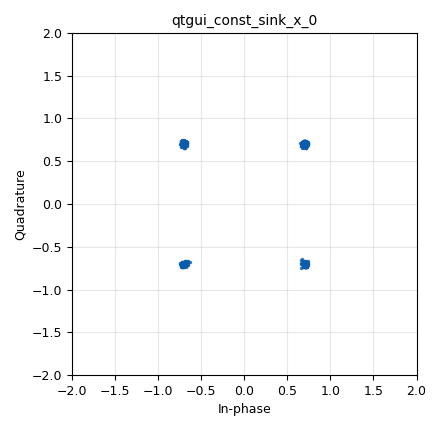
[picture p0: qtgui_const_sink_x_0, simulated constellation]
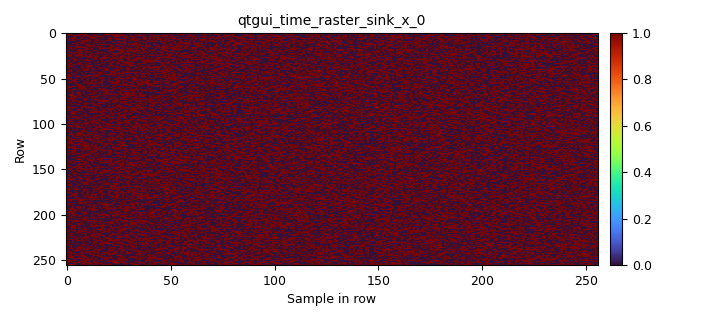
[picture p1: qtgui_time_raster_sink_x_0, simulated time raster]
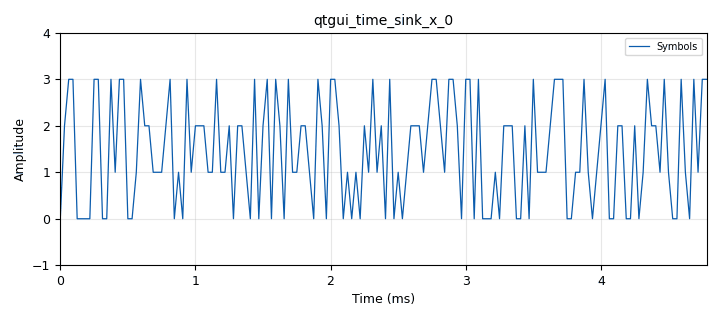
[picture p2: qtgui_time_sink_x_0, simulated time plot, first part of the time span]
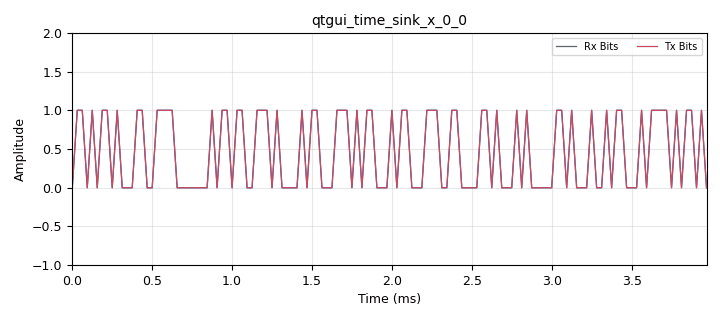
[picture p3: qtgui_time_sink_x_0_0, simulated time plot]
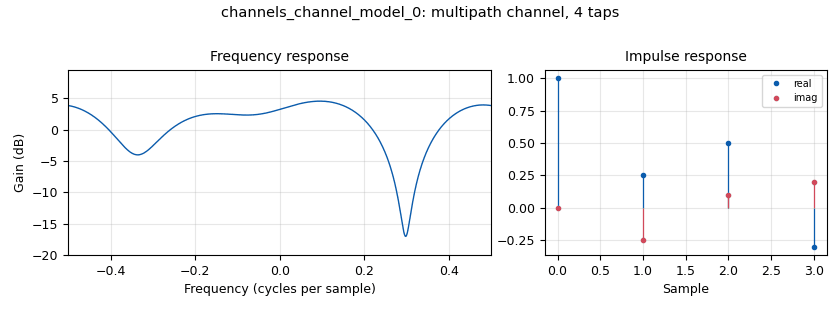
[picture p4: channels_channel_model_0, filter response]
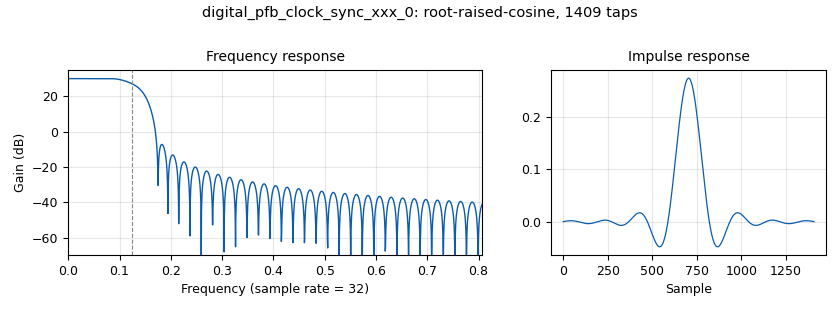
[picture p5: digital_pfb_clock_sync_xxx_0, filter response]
options:
  parameters:
    category: Custom
    generate_options: qt_gui
    id: mpsk_stage6
    output_language: python
    title: mpsk_stage6.grc
  states: {}

blocks:
- name: arity
  id: variable
  parameters:
    value: '4'
  states: {}
- name: delay
  id: variable_qtgui_range
  parameters:
    gui_hint: 1,0,1,1
    label: Delay
    orient: Qt.Horizontal
    start: '0'
    step: '1'
    stop: '200'
    value: '58'
  states: {}
- name: eq_gain
  id: variable_qtgui_range
  parameters:
    gui_hint: 'controls@1: 0,1,1,1'
    label: 'Equalizer: rate'
    orient: Qt.Horizontal
    start: '0.0'
    step: '0.001'
    stop: '0.1'
    value: '0.01'
    widget: slider
  states: {}
- name: excess_bw
  id: variable
  parameters:
    value: '0.35'
  states: {}
- name: freq_offset
  id: variable_qtgui_range
  parameters:
    gui_hint: 'controls@0: 0,1,1,1'
    label: Frequency Offset
    orient: Qt.Horizontal
    start: '-0.1'
    step: '0.001'
    stop: '0.1'
    value: '0'
  states: {}
- name: nfilts
  id: variable
  parameters:
    value: '32'
  states: {}
- name: noise_volt
  id: variable_qtgui_range
  parameters:
    gui_hint: 'controls@0: 0,0,1,1'
    label: Noise Voltage
    orient: Qt.Horizontal
    start: '0'
    step: '0.01'
    stop: '1'
    value: '0.0001'
  states: {}
- name: phase_bw
  id: variable_qtgui_range
  parameters:
    gui_hint: 'controls@1: 0,2,1,1'
    label: 'Phase: Bandwidth'
    orient: Qt.Horizontal
    start: '0.0'
    step: '0.01'
    stop: '1.0'
    value: 6.28/100.0
    widget: slider
  states: {}
- name: qpsk
  id: variable_constellation_rect
  parameters:
    const_points: '[0.707+0.707j, -0.707+0.707j, -0.707-0.707j, 0.707-0.707j]'
    imag_sect: '2'
    real_sect: '2'
    rot_sym: '4'
    sym_map: '[0, 1, 2, 3]'
    w_imag_sect: '1'
    w_real_sect: '1'
  states: {}
- name: rrc_taps
  id: variable
  parameters:
    value: firdes.root_raised_cosine(nfilts, nfilts, 1.0/float(sps), 0.35, 11*sps*nfilts)
  states: {}
- name: samp_rate
  id: variable
  parameters:
    value: '32000'
  states: {}
- name: sps
  id: variable
  parameters:
    value: '4'
  states: {}
- name: taps
  id: variable
  parameters:
    value: '[1.0, 0.25-0.25j, 0.50 + 0.10j, -0.3 + 0.2j]'
  states: {}
- name: time_offset
  id: variable_qtgui_range
  parameters:
    gui_hint: 'controls@0: 0,2,1,1'
    label: Timing Offset
    orient: Qt.Horizontal
    start: '0.999'
    step: '0.0001'
    stop: '1.001'
    value: '1.00'
  states: {}
- name: timing_loop_bw
  id: variable_qtgui_range
  parameters:
    gui_hint: 'controls@1: 0,0,1,1'
    label: 'Time: BW'
    orient: Qt.Horizontal
    start: '0.0'
    step: '0.01'
    stop: '0.2'
    value: 6.28/100.0
    widget: slider
  states: {}
- name: analog_random_source_x_0
  id: analog_random_source_x
  parameters:
    max: '255'
    min: '0'
    num_samps: '1000'
    repeat: 'True'
    type: byte
  states: {}
- name: blocks_char_to_float_0
  id: blocks_char_to_float
  parameters:
    scale: '1'
  states: {}
- name: blocks_char_to_float_0_0
  id: blocks_char_to_float
  parameters:
    scale: '1'
  states: {}
- name: blocks_char_to_float_0_0_0
  id: blocks_char_to_float
  parameters:
    scale: '1'
  states: {}
- name: blocks_delay_0
  id: blocks_delay
  parameters:
    delay: int(delay)
    type: float
  states: {}
- name: blocks_sub_xx_0
  id: blocks_sub_xx
  parameters:
    type: float
  states: {}
- name: blocks_throttle_0
  id: blocks_throttle
  parameters:
    samples_per_second: samp_rate
    type: complex
  states: {}
- name: blocks_unpack_k_bits_bb_0
  id: blocks_unpack_k_bits_bb
  parameters:
    k: '2'
  states: {}
- name: blocks_unpack_k_bits_bb_0_0
  id: blocks_unpack_k_bits_bb
  parameters:
    k: '8'
  states: {}
- name: channels_channel_model_0
  id: channels_channel_model
  parameters:
    epsilon: time_offset
    freq_offset: freq_offset
    noise_voltage: noise_volt
    seed: '0'
    taps: taps
  states: {}
- name: controls
  id: qtgui_tab_widget
  parameters:
    gui_hint: 0,0,1,2
    label0: Channel
    label1: Receiver
    num_tabs: '2'
  states: {}
- name: digital_cma_equalizer_cc_0
  id: digital_cma_equalizer_cc
  parameters:
    modulus: '1'
    mu: eq_gain
    num_taps: '15'
    sps: '2'
  states: {}
- name: digital_constellation_decoder_cb_0
  id: digital_constellation_decoder_cb
  parameters:
    constellation: qpsk
  states: {}
- name: digital_constellation_modulator_0
  id: digital_constellation_modulator
  parameters:
    constellation: qpsk
    differential: 'True'
    excess_bw: excess_bw
    samples_per_symbol: sps
  states: {}
- name: digital_costas_loop_cc_0
  id: digital_costas_loop_cc
  parameters:
    order: arity
    w: phase_bw
  states: {}
- name: digital_diff_decoder_bb_0
  id: digital_diff_decoder_bb
  parameters:
    modulus: '4'
  states: {}
- name: digital_map_bb_0
  id: digital_map_bb
  parameters:
    map: '[0,1,2,3]'
  states: {}
- name: digital_pfb_clock_sync_xxx_0
  id: digital_pfb_clock_sync_xxx
  parameters:
    filter_size: nfilts
    init_phase: nfilts/2
    loop_bw: timing_loop_bw
    max_dev: '1.5'
    osps: '2'
    sps: sps
    taps: rrc_taps
    type: ccf
  states: {}
- name: qtgui_const_sink_x_0
  id: qtgui_const_sink_x
  parameters:
    gui_hint: 'received@0: 0,0,1,1'
    size: '1024'
    type: complex
  states: {}
- name: qtgui_time_raster_sink_x_0
  id: qtgui_time_raster_sink_x
  parameters:
    gui_hint: 'received@2: 0,0,1,1'
    ncols: '256'
    nrows: '256'
    samp_rate: samp_rate
    type: float
  states: {}
- name: qtgui_time_sink_x_0
  id: qtgui_time_sink_x
  parameters:
    gui_hint: 'received@1: 0,0,1,1'
    label1: Symbols
    name: ''
    size: '500'
    srate: samp_rate
    type: float
    ymax: '4'
  states: {}
- name: qtgui_time_sink_x_0_0
  id: qtgui_time_sink_x
  parameters:
    gui_hint: 'signals@0: 0,0,1,1'
    label1: Rx Bits
    label2: Tx Bits
    name: ''
    nconnections: '2'
    size: '128'
    srate: samp_rate
    tr_mode: qtgui.TRIG_MODE_AUTO
    type: float
    ymax: '2'
  states: {}
- name: qtgui_time_sink_x_1
  id: qtgui_time_sink_x
  parameters:
    color1: magenta
    entags: 'False'
    gui_hint: 'signals@1: 0,0,1,1'
    label1: Rx_Bits - Tx_Bits
    size: '128'
    srate: samp_rate
    type: float
  states: {}
- name: received
  id: qtgui_tab_widget
  parameters:
    gui_hint: 2,0,1,1
    label0: Constellation
    label1: Symbols
    label2: Pattern
    num_tabs: '3'
  states: {}
- name: signals
  id: qtgui_tab_widget
  parameters:
    gui_hint: 2,1,1,1
    label0: Bits
    label1: Subtract
    num_tabs: '2'
  states: {}

connections:
- [analog_random_source_x_0, '0', blocks_unpack_k_bits_bb_0_0, '0']
- [analog_random_source_x_0, '0', digital_constellation_modulator_0, '0']
- [blocks_char_to_float_0, '0', qtgui_time_sink_x_0, '0']
- [blocks_char_to_float_0_0, '0', blocks_sub_xx_0, '0']
- [blocks_char_to_float_0_0, '0', qtgui_time_raster_sink_x_0, '0']
- [blocks_char_to_float_0_0, '0', qtgui_time_sink_x_0_0, '0']
- [blocks_char_to_float_0_0_0, '0', blocks_delay_0, '0']
- [blocks_delay_0, '0', blocks_sub_xx_0, '1']
- [blocks_delay_0, '0', qtgui_time_sink_x_0_0, '1']
- [blocks_sub_xx_0, '0', qtgui_time_sink_x_1, '0']
- [blocks_throttle_0, '0', channels_channel_model_0, '0']
- [blocks_unpack_k_bits_bb_0, '0', blocks_char_to_float_0_0, '0']
- [blocks_unpack_k_bits_bb_0_0, '0', blocks_char_to_float_0_0_0, '0']
- [channels_channel_model_0, '0', digital_pfb_clock_sync_xxx_0, '0']
- [digital_cma_equalizer_cc_0, '0', digital_costas_loop_cc_0, '0']
- [digital_constellation_decoder_cb_0, '0', blocks_char_to_float_0, '0']
- [digital_constellation_decoder_cb_0, '0', digital_diff_decoder_bb_0, '0']
- [digital_constellation_modulator_0, '0', blocks_throttle_0, '0']
- [digital_costas_loop_cc_0, '0', digital_constellation_decoder_cb_0, '0']
- [digital_costas_loop_cc_0, '0', qtgui_const_sink_x_0, '0']
- [digital_diff_decoder_bb_0, '0', digital_map_bb_0, '0']
- [digital_map_bb_0, '0', blocks_unpack_k_bits_bb_0, '0']
- [digital_pfb_clock_sync_xxx_0, '0', digital_cma_equalizer_cc_0, '0']

metadata:
  file_format: 1
